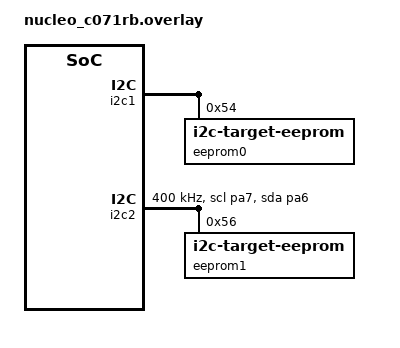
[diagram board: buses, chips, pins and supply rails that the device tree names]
/*
 * Copyright (c) 2025 STMicroelectronics
 * SPDX-License-Identifier: Apache-2.0
 */

/* I2C bus pins are exposed on the ST morpho header.
 *
 *  Bus        SDA               SCL
 *          Pin   Hdr         Pin   Hdr
 *  i2c1    PB9   CN5:9      PB8   CN5:10
 *  i2c2    PA6   CN5:5      PA7   CN5:4
 *
 * Short Pin PB9 to PA6, and PB8 to PA7, for the test to pass.
 */

&i2c1 {
	dmas = <&dmamux1 2 34 (STM32_DMA_PERIPH_TX | STM32_DMA_PRIORITY_HIGH)>,
	       <&dmamux1 3 33 (STM32_DMA_PERIPH_RX | STM32_DMA_PRIORITY_HIGH)>;
	dma-names = "tx", "rx";

	eeprom0: eeprom@54 {
		compatible = "zephyr,i2c-target-eeprom";
		reg = <0x54>;
		size = <256>;
	};
};

&i2c2 {
	pinctrl-0 = <&i2c2_scl_pa7 &i2c2_sda_pa6>;
	pinctrl-names = "default";
	scl-gpios = <&gpioa 7 GPIO_ACTIVE_HIGH>;
	sda-gpios = <&gpioa 6 GPIO_ACTIVE_HIGH>;
	dmas = <&dmamux1 4 36 (STM32_DMA_PERIPH_TX | STM32_DMA_PRIORITY_HIGH)>,
	       <&dmamux1 5 35 (STM32_DMA_PERIPH_RX | STM32_DMA_PRIORITY_HIGH)>;
	dma-names = "tx", "rx";
	status = "okay";
	clock-frequency = <I2C_BITRATE_FAST>;

	eeprom1: eeprom@56 {
		compatible = "zephyr,i2c-target-eeprom";
		reg = <0x56>;
		size = <256>;
	};
};
